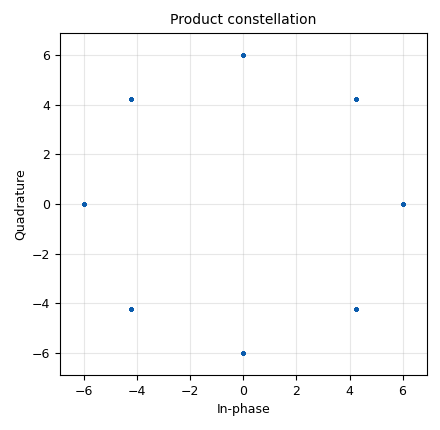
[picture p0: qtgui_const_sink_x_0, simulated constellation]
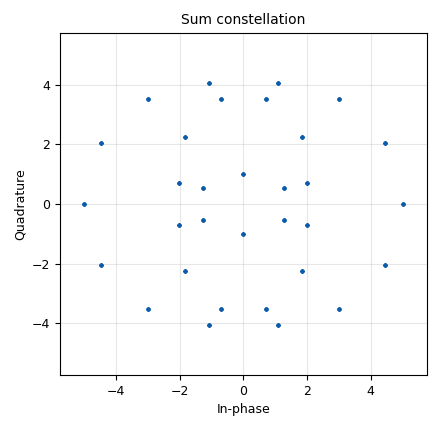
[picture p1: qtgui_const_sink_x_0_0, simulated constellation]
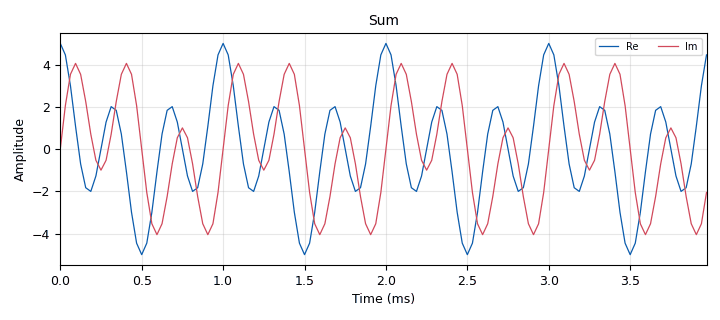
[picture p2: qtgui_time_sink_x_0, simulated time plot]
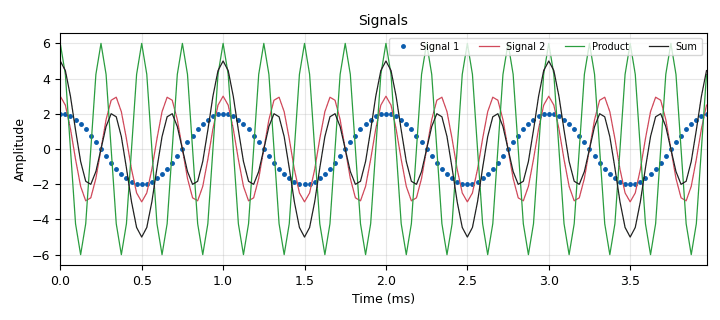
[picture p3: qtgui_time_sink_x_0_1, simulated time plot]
options:
  parameters:
    generate_options: qt_gui
    id: run_signals_constellation_test
    output_language: python
    title: Signals constellation and envelope test
  states: {}

blocks:
- name: samp_rate
  id: variable
  parameters:
    value: '32000'
  states: {}
- name: analog_sig_source_x_0
  id: analog_sig_source_x
  parameters:
    amp: '2'
    freq: '1000'
    offset: '0'
    phase: '0'
    samp_rate: samp_rate
    type: complex
    waveform: analog.GR_COS_WAVE
  states: {}
- name: analog_sig_source_x_0_0
  id: analog_sig_source_x
  parameters:
    amp: '3'
    freq: 3e3
    offset: '0'
    phase: '0'
    samp_rate: samp_rate
    type: complex
    waveform: analog.GR_SIN_WAVE
  states: {}
- name: blocks_add_xx_0
  id: blocks_add_xx
  parameters:
    type: complex
  states: {}
- name: blocks_complex_to_real_0
  id: blocks_complex_to_real
  parameters: {}
  states: {}
- name: blocks_complex_to_real_0_0
  id: blocks_complex_to_real
  parameters: {}
  states: {}
- name: blocks_complex_to_real_0_1
  id: blocks_complex_to_real
  parameters: {}
  states: {}
- name: blocks_complex_to_real_0_1_0
  id: blocks_complex_to_real
  parameters: {}
  states: {}
- name: blocks_multiply_xx_0
  id: blocks_multiply_xx
  parameters:
    type: complex
  states: {}
- name: blocks_throttle_0
  id: blocks_throttle
  parameters:
    samples_per_second: samp_rate
    type: complex
  states: {}
- name: blocks_throttle_0_0
  id: blocks_throttle
  parameters:
    samples_per_second: samp_rate
    type: complex
  states: {}
- name: qtgui_const_sink_x_0
  id: qtgui_const_sink_x
  parameters:
    autoscale: 'True'
    grid: 'True'
    gui_hint: 0,1,1,1
    name: '"Product constellation"'
    size: '1024'
    type: complex
  states: {}
- name: qtgui_const_sink_x_0_0
  id: qtgui_const_sink_x
  parameters:
    autoscale: 'True'
    grid: 'True'
    gui_hint: 1,1,1,1
    name: '"Sum constellation"'
    size: '1024'
    type: complex
  states: {}
- name: qtgui_time_sink_x_0
  id: qtgui_time_sink_x
  parameters:
    autoscale: 'True'
    gui_hint: 1,0,1,1
    label1: Re
    label2: Im
    name: '"Sum"'
    size: int(1024/8)
    srate: samp_rate
    type: complex
  states: {}
- name: qtgui_time_sink_x_0_1
  id: qtgui_time_sink_x
  parameters:
    autoscale: 'True'
    gui_hint: 0,0,1,1
    label3: Product
    label4: Sum
    name: '"Signals"'
    nconnections: '4'
    size: int(1024/8)
    srate: samp_rate
    style1: '0'
    type: float
  states: {}

connections:
- [analog_sig_source_x_0, '0', blocks_throttle_0, '0']
- [analog_sig_source_x_0_0, '0', blocks_throttle_0_0, '0']
- [blocks_add_xx_0, '0', blocks_complex_to_real_0_1_0, '0']
- [blocks_add_xx_0, '0', qtgui_const_sink_x_0_0, '0']
- [blocks_add_xx_0, '0', qtgui_time_sink_x_0, '0']
- [blocks_complex_to_real_0, '0', qtgui_time_sink_x_0_1, '0']
- [blocks_complex_to_real_0_0, '0', qtgui_time_sink_x_0_1, '1']
- [blocks_complex_to_real_0_1, '0', qtgui_time_sink_x_0_1, '2']
- [blocks_complex_to_real_0_1_0, '0', qtgui_time_sink_x_0_1, '3']
- [blocks_multiply_xx_0, '0', blocks_complex_to_real_0_1, '0']
- [blocks_multiply_xx_0, '0', qtgui_const_sink_x_0, '0']
- [blocks_throttle_0, '0', blocks_add_xx_0, '0']
- [blocks_throttle_0, '0', blocks_complex_to_real_0, '0']
- [blocks_throttle_0, '0', blocks_multiply_xx_0, '0']
- [blocks_throttle_0_0, '0', blocks_add_xx_0, '1']
- [blocks_throttle_0_0, '0', blocks_complex_to_real_0_0, '0']
- [blocks_throttle_0_0, '0', blocks_multiply_xx_0, '1']

metadata:
  file_format: 1
